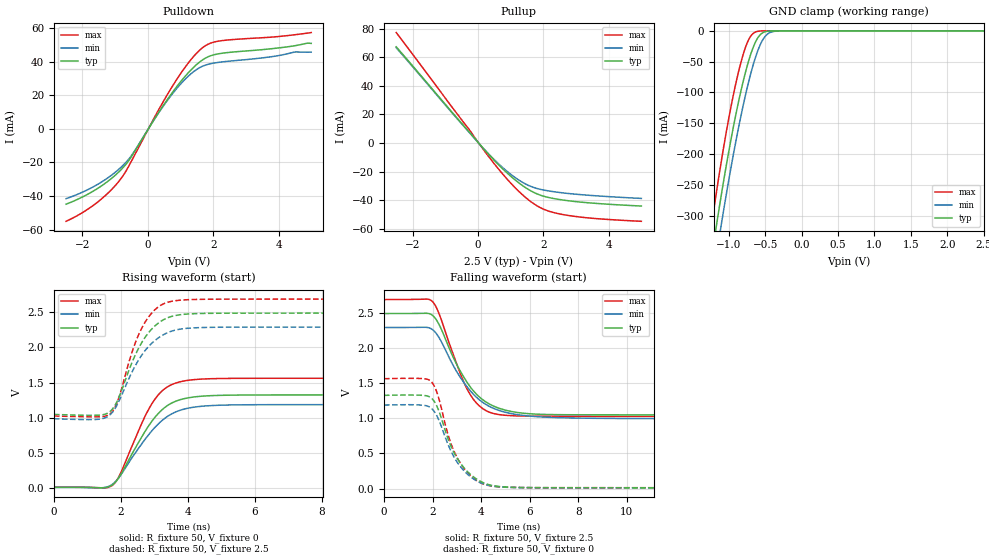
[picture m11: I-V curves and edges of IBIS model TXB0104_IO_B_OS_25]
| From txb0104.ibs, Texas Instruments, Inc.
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[Model]   TXB0104_IO_B_OS_25
Model_type  I/O
Vinl=0.804
Vinh=1.755
Enable   Active-High
Vref =   0
Rref =   1e6
Cref =   15p
Vmeas =   1.25
| variable   typ   min   max
C_comp   14.10pF   12.01pF   15.65pF
| C_pullup   14.56pF   11.56pF   16.88pF
| C_pulldown   14.64pF   13.21pF   15.28pF
| C_tri-state   14.10pF   12.01pF   15.65pF
[Temperature Range]   40   100   -40
| Ambient temperature   25   85   -40
[Voltage range]   2.5   2.3   2.7
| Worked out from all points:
|   slope of the pulldown table from 0 to 0.375 V, typ, clamps not added: 32.3 ohm
|   slope of the pullup table from 0 to 0.375 V, typ, clamps not added: 38.8 ohm
|   GND clamp passes 1 mA (typ) near -0.48 V on its own axis
|   rising waveform, R_fixture 50, V_fixture 0: 20-80 % time 1.03ns typ, 1.13ns min, 905ps max; typ from 0.011 V to 1.32 V
|   falling waveform, R_fixture 50, V_fixture 2.5: 20-80 % time 1.38ns typ, 1.53ns min, 1.11ns max; typ from 2.49 V to 1.05 V
|   rising waveform, R_fixture 50, V_fixture 2.5: 20-80 % time 830ps typ, 904ps min, 730ps max; typ from 1.05 V to 2.49 V
|   falling waveform, R_fixture 50, V_fixture 0: 20-80 % time 1.04ns typ, 1.03ns min, 938ps max; typ from 1.32 V to 0.011 V
[GND Clamp]
| TXB0104_IO_B_OS_25
|   Voltage   I(typ)   I(min)   I(max)
-2.5V     -1.624A    -1.631A    -1.656A
-1.23V    -364.1mA   -412.3mA   -311.6mA
-1.165V   -313.6mA   -361.9mA   -259.8mA
-1.095V   -262mA     -309.8mA   -207.4mA
-955mV    -168.1mA   -213.3mA   -115.3mA
-840mV    -101.9mA   -142.9mA   -55.01mA
-735mV    -52.54mA   -87.17mA   -16.66mA
-640mV    -20.26mA   -46.01mA   -2.365mA
-580mV    -8.156mA   -26.2mA    -431.3uA
-520mV    -2.458mA   -12.36mA   -59.71uA
-375mV    -59.94uA   -836.3uA   -194.6nA
2.5V      653.8pA    127nA      69.91pA
[Pulldown]
| TXB0104_IO_B_OS_25
|   Voltage   I(typ)   I(min)   I(max)
-2.5V     -44.85mA   -41.54mA   -55.03mA
-1.59V    -36.15mA   -33.67mA   -44.42mA
-860mV    -25.14mA   -23.58mA   -30.62mA
-490mV    -16.17mA   -15.63mA   -18.81mA
290mV     8.469mA    8.333mA    9.879mA
775mV     22.26mA    21.42mA    26.05mA
1.265V    33.93mA    31.83mA    39.87mA
1.68V     41.12mA    37.33mA    48.38mA
2.24V     44.92mA    39.77mA    52.45mA
3.745V    47.62mA    42.84mA    54.55mA
4.51V     49.53mA    45.76mA    56.04mA
5V        50.89mA    45.65mA    57.32mA
[Pullup]
| TXB0104_IO_B_OS_25
|   Voltage   I(typ)   I(min)   I(max)
-2.5V     67.26mA    66.61mA    77.22mA
-655mV    17.92mA    17.51mA    20.97mA
345mV     -8.329mA   -8.075mA   -9.952mA
685mV     -16.41mA   -15.67mA   -19.69mA
1.005V    -23.23mA   -21.86mA   -28.03mA
1.3V      -28.68mA   -26.58mA   -34.83mA
1.58V     -32.92mA   -29.95mA   -40.31mA
1.81V     -35.56mA   -31.79mA   -43.91mA
2.03V     -37.32mA   -32.94mA   -46.46mA
2.59V     -39.8mA    -34.83mA   -49.95mA
3.49V     -41.98mA   -36.69mA   -52.58mA
5V        -44.05mA   -38.73mA   -54.71mA
[Ramp]
| TXB0104_IO_B_OS_25
| variable   typ   min   max
dV/dt_r   0.79/1.03E-09   0.71/1.13E-09   0.94/9.11E-10
dV/dt_f   0.87/1.38E-09   0.78/1.53E-09   1.00/1.11E-09
R_load = 50
[Rising Waveform]
| TXB0104_IO_B_OS_25
R_fixture =   50
C_fixture =   0
L_fixture =   0
V_fixture =   0
V_fixture_min = 0
V_fixture_max = 0
|   Time   V(typ)   V(min)   V(max)
0s        11.18mV    9.66mV     11.79mV
1.42ns    3.203mV    3.755mV    3.327mV
1.735ns   40.8mV     48.58mV    34.72mV
1.96ns    161.8mV    160.1mV    178.6mV
2.7ns     787mV      677.5mV    997.2mV
3.075ns   1.037V     890.9mV    1.3V
3.53ns    1.211V     1.057V     1.473V
4.24ns    1.298V     1.154V     1.544V
6.495ns   1.324V     1.186V     1.561V
39.89ns   1.325V     1.186V     1.561V
[Falling Waveform]
| TXB0104_IO_B_OS_25
R_fixture =   50
C_fixture =   0
L_fixture =   0
V_fixture =   2.5
V_fixture_min = 2.3
V_fixture_max = 2.7
|   Time   V(typ)   V(min)   V(max)
0s        2.487V     2.289V     2.687V
1.995ns   2.462V     2.26V      2.658V
2.25ns    2.343V     2.154V     2.5V
3.13ns    1.677V     1.587V     1.645V
3.54ns    1.45V      1.395V     1.341V
4.1ns     1.254V     1.216V     1.128V
4.825ns   1.131V     1.1V       1.047V
6.09ns    1.061V     1.027V     1.028V
8.74ns    1.048V     998mV      1.026V
39.89ns   1.047V     987.1mV    1.025V
[Rising Waveform]
| TXB0104_IO_B_OS_25
R_fixture =   50
C_fixture =   0
L_fixture =   0
V_fixture =   2.5
V_fixture_min = 2.3
V_fixture_max = 2.7
|   Time   V(typ)   V(min)   V(max)
0s        1.047V     985.3mV    1.025V
1.32ns    1.036V     977.6mV    1.013V
1.7ns     1.098V     1.052V     1.065V
1.905ns   1.249V     1.197V     1.235V
2.37ns    1.826V     1.683V     1.982V
2.725ns   2.144V     1.955V     2.359V
3.175ns   2.365V     2.153V     2.594V
3.77ns    2.465V     2.26V      2.672V
5.685ns   2.487V     2.288V     2.687V
39.89ns   2.487V     2.289V     2.687V
[Falling Waveform]
| TXB0104_IO_B_OS_25
R_fixture =   50
C_fixture =   0
L_fixture =   0
V_fixture =   0
V_fixture_min = 0
V_fixture_max = 0
|   Time   V(typ)   V(min)   V(max)
0s        1.325V     1.186V     1.561V
1.515ns   1.326V     1.186V     1.564V
1.93ns    1.291V     1.147V     1.525V
2.075ns   1.236V     1.093V     1.453V
2.21ns    1.146V     1.01V      1.334V
2.74ns    618mV      546.5mV    657.3mV
3.115ns   376.8mV    326.5mV    377.5mV
3.77ns    144.7mV    118.8mV    123.4mV
4.55ns    37.69mV    30.88mV    30.51mV
39.89ns   11.18mV    9.66mV     11.79mV
